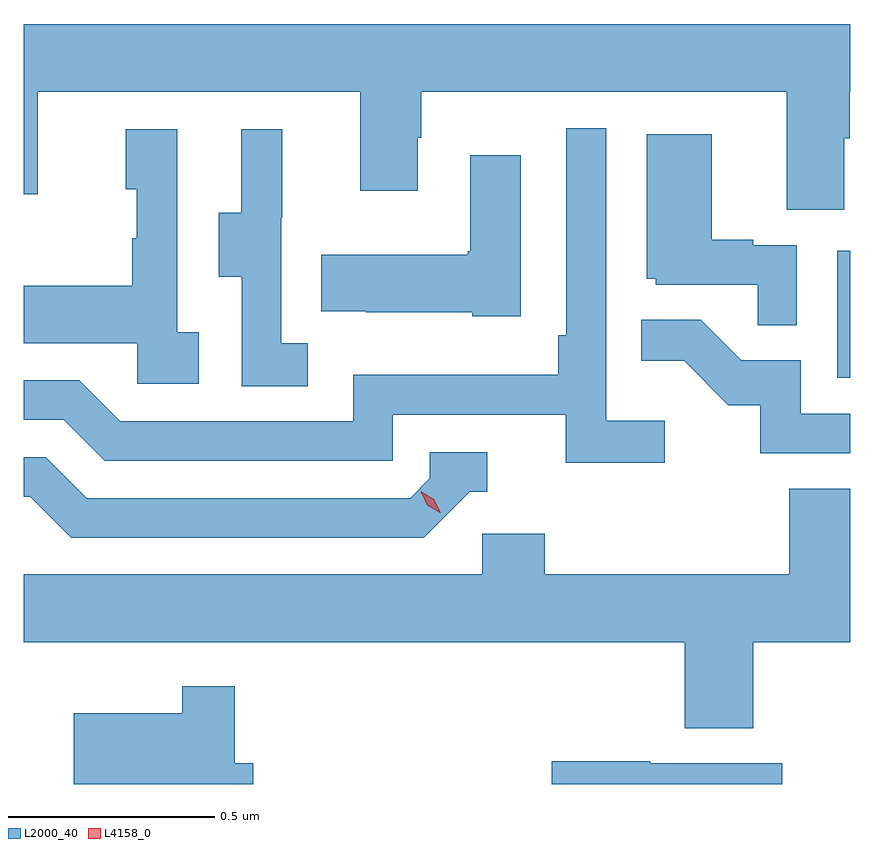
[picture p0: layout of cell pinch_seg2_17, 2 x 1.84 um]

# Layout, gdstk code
import gdstk
lib = gdstk.Library(unit=1e-6, precision=1e-09)
def R(c, l, rs):  # rectangles x0, y0, x1, y1
    for r in rs: c.add(gdstk.rectangle(r[:2], r[2:], *l))
def P(c, l, *ps):  # polygons
    for p in ps: c.add(gdstk.Polygon(p, *l))
L2000_40 = (2000, 40)
L4158_0 = (4158, 0)

pinch_seg2_17 = lib.new_cell('pinch_seg2_17')
R(pinch_seg2_17, L2000_40, [(1090.88,661.596,1090.911,661.903)])
P(pinch_seg2_17, L2000_40, [(1090.897,662.176),(1090.91,662.176),(1090.91,662.288),(1090.911,662.288),(1090.911,662.452),(1088.911,662.452),(1088.911,662.04),(1088.945,662.04),(1088.945,662.288),(1089.725,662.288),(1089.725,662.049),(1089.865,662.049),(1089.865,662.177),(1089.873,662.177),(1089.873,662.288),(1090.757,662.288),(1090.757,662.002),(1090.897,662.002)],
  [(1090.462,661.492),(1090.32,661.492),(1090.32,662.2),(1090.224,662.2),(1090.224,661.699),(1090.204,661.699),(1090.204,661.603),(1089.708,661.603),(1089.708,661.491),(1089.144,661.491),(1089.045,661.59),(1088.911,661.59),(1088.911,661.494),(1089.008,661.494),(1089.107,661.395),(1089.804,661.395),(1089.804,661.506),(1090.223,661.506),(1090.223,661.39),(1090.462,661.39)],
  [(1089.334,661.706),(1089.282,661.706),(1089.282,662.197),(1089.158,662.197),(1089.158,662.052),(1089.184,662.052),(1089.184,661.934),(1089.174,661.934),(1089.174,661.819),(1088.911,661.819),(1088.911,661.679),(1089.186,661.679),(1089.186,661.581),(1089.334,661.581)],
  [(1089.598,661.679),(1089.534,661.679),(1089.534,661.983),(1089.536,661.983),(1089.536,662.197),(1089.437,662.197),(1089.437,661.995),(1089.383,661.995),(1089.383,661.84),(1089.438,661.84),(1089.438,661.576),(1089.598,661.576)],
  [(1090.782,661.917),(1090.676,661.917),(1090.676,661.93),(1090.576,661.93),(1090.576,662.185),(1090.418,662.185),(1090.418,661.836),(1090.44,661.836),(1090.44,661.821),(1090.687,661.821),(1090.687,661.723),(1090.782,661.723)],
  [(1090.114,662.134),(1089.992,662.134),(1089.992,661.902),(1089.985,661.902),(1089.985,661.894),(1089.631,661.894),(1089.631,661.757),(1089.739,661.757),(1089.739,661.754),(1089.996,661.754),(1089.996,661.745),(1090.114,661.745)],
  [(1090.911,661.509),(1090.791,661.509),(1090.791,661.638),(1090.647,661.638),(1090.549,661.736),(1090.405,661.736),(1090.405,661.637),(1090.509,661.637),(1090.616,661.53),(1090.693,661.53),(1090.693,661.413),(1090.911,661.413)],
  [(1089.99,661.32),(1090.033,661.32),(1090.033,661.416),(1089.894,661.416),(1089.894,661.353),(1089.846,661.305),(1089.063,661.305),(1088.964,661.404),(1088.911,661.404),(1088.911,661.308),(1088.927,661.308),(1089.026,661.209),(1089.879,661.209)],
  [(1090.676,660.956),(1090.911,660.956),(1090.911,661.328),(1090.763,661.328),(1090.763,661.12),(1090.172,661.12),(1090.172,661.218),(1090.02,661.218),(1090.02,661.12),(1088.911,661.12),(1088.911,660.956),(1090.511,660.956),(1090.511,660.748),(1090.676,660.748)],
  [(1089.466,660.663),(1089.422,660.663),(1089.422,660.85),(1089.294,660.85),(1089.294,660.784),(1089.032,660.784),(1089.032,660.613),(1089.466,660.613)],
  [(1090.746,660.663),(1090.427,660.663),(1090.427,660.668),(1090.189,660.668),(1090.189,660.613),(1090.746,660.613)])
P(pinch_seg2_17, L4158_0, [(1089.919,661.269),(1089.888,661.288),(1089.872,661.321),(1089.872,661.321),(1089.872,661.321),(1089.903,661.302),(1089.92,661.269),(1089.92,661.269)])

lib.write_gds('pinch_seg2_17.gds')
